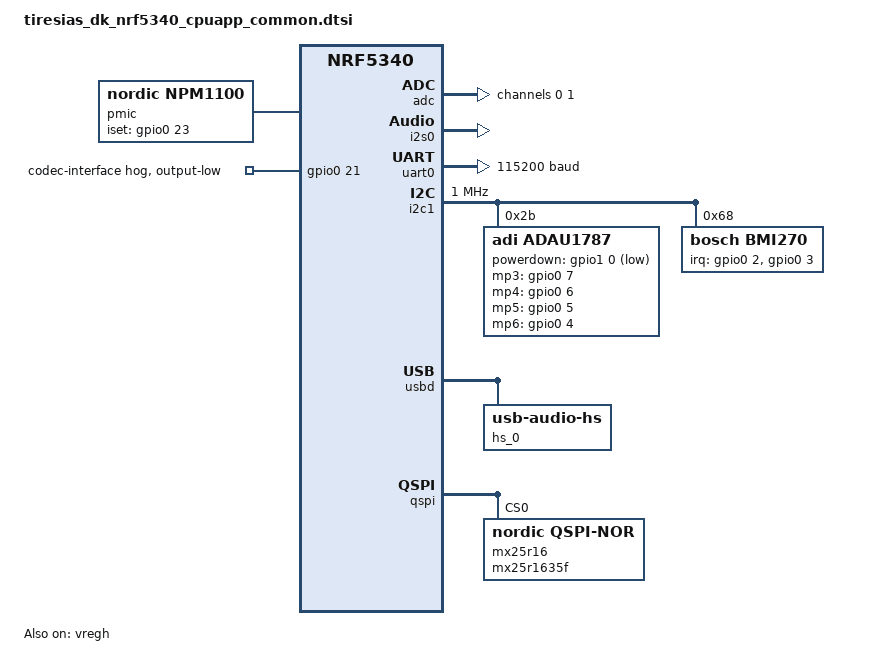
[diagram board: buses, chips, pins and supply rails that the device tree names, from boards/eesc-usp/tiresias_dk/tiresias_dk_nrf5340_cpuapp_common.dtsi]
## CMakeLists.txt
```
#
# Copyright (c) 2022 Nordic Semiconductor ASA
#
# SPDX-License-Identifier: LicenseRef-Nordic-5-Clause
#

cmake_minimum_required(VERSION 3.20.0)

# Flag which defines whether application is compiled as gateway/dongle or headset
add_compile_definitions(HEADSET=1)
add_compile_definitions(GATEWAY=2)

find_package(Zephyr REQUIRED HINTS $ENV{ZEPHYR_BASE})

project(new-tiresias)

string(TIMESTAMP NRF5340_AUDIO_CORE_APP_COMP_DATE "%a %b %d %H:%M:%S %Y")

# Generate fw_info_app.c
configure_file("${CMAKE_CURRENT_SOURCE_DIR}/src/utils/fw_info_app.c.in"
               "${CMAKE_BINARY_DIR}/fw_info_app.c"
               @ONLY)

# Target sources below are specific to the nRF5340 Audio DK HW
target_sources(app PRIVATE
    ${CMAKE_BINARY_DIR}/fw_info_app.c
    )

target_sources(app PRIVATE src/main.c)

# Include application events and configuration headers
zephyr_library_include_directories(
    include
    src/audio
    src/application
    src/bluetooth
    src/drivers
    src/modules
    src/utils
    src/utils/macros
    src/SigmaStudioFiles
)

zephyr_library_include_directories(app PRIVATE
    ${ZEPHYR_NRF_MODULE_DIR}/boards/arm/nrf5340_audio_dk_nrf5340)

# Application sources
add_subdirectory(src/audio)
add_subdirectory(src/application)
add_subdirectory(src/bluetooth)
add_subdirectory(src/drivers)
add_subdirectory(src/modules)
add_subdirectory(src/utils)
add_subdirectory(src/SigmaStudioFiles)
```

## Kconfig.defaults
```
#
# Copyright (c) 2022 Nordic Semiconductor ASA
#
# SPDX-License-Identifier: LicenseRef-Nordic-5-Clause
#

config REBOOT
	default y

config MAIN_THREAD_PRIORITY
	default 10

config MAIN_STACK_SIZE
	default 8192

config SYSTEM_WORKQUEUE_STACK_SIZE
	default 1200

# As long as thread names are used, config must be set to "y"
config THREAD_NAME
	default y

# Workaround to not use fatal_error.c in NCS. Note that the system may still
# reset on error depending on the build configuraion
config RESET_ON_FATAL_ERROR
	default n

# Default Config for Debug and Release build
config BT
	default y

config ZBUS
	default y

config ZBUS_RUNTIME_OBSERVERS
	default y

config ZBUS_MSG_SUBSCRIBER
	default y

config SENSOR
	default y

config REGULATOR
	default y

config CONTIN_ARRAY
	default y

config NRFX_I2S0
	default y

config PCM_MIX
	default y

config PSCM
	default y

config DATA_FIFO
	default y

# Enable NRFX_CLOCK for ACLK control
config NRFX_CLOCK
	default y

config I2C
	default y

choice LIBC_IMPLEMENTATION
	# NOTE: Since we are not using minimal libc, error codes from
	#       minimal libc are not used
	default NEWLIB_LIBC
endchoice

# Audio codec LC3 related defines
# FPU_SHARING enables preservation of the hardware floating point registers
# across context switches to allow multiple threads to perform concurrent
# floating point operations.
config FPU
	default y

config FPU_SHARING
	default y

# Enable SDHC interface
config DISK_DRIVERS
	default y

config DISK_DRIVER_SDMMC
	default y

# Enable SPI interface
config SPI
	default y

# Enable ADC for board version readback
config ADC
	default y

# Allocate buffer on RAM for transferring chunck of data
# from Flash to SPI
config SPI_NRFX_RAM_BUFFER_SIZE
	default 8

# Config the file system
config FILE_SYSTEM
	default y

config FAT_FILESYSTEM_ELM
	default y

config FS_FATFS_LFN
	default y
choice FS_FATFS_LFN_MODE
	# Using stack for LFN work queue
	default FS_FATFS_LFN_MODE_STACK
endchoice

# exFAT enabled to support longer file names and higher transfer speed
config FS_FATFS_EXFAT
	default y

config WATCHDOG
	default y

config TASK_WDT
	default y
```

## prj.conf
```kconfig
#
# Copyright (c) 2024 Nordic Semiconductor ASA
#
# SPDX-License-Identifier: LicenseRef-Nordic-5-Clause
#

# nRF5340 Audio
CONFIG_NRF5340_AUDIO=y
CONFIG_SAMPLE_RATE_CONVERTER=y
CONFIG_SAMPLE_RATE_CONVERTER_FILTER_SIMPLE=y

# General
CONFIG_DEBUG=y
CONFIG_DEBUG_INFO=y
CONFIG_ASSERT=y
CONFIG_STACK_USAGE=y
CONFIG_THREAD_RUNTIME_STATS=y
CONFIG_STACK_SENTINEL=y
CONFIG_INIT_STACKS=y
CONFIG_BT=y

# Uart driver
CONFIG_SERIAL=y

# Logging
CONFIG_LOG=y
CONFIG_NEWLIB_LIBC_FLOAT_PRINTF=y
CONFIG_LOG_TAG_MAX_LEN=2
CONFIG_LOG_TAG_DEFAULT="--"
CONFIG_LOG_BACKEND_UART=n
CONFIG_LOG_BACKEND_RTT=y
CONFIG_LOG_BUFFER_SIZE=4096

# Use this for debugging thread usage
#CONFIG_LOG_THREAD_ID_PREFIX=y

# Console related defines
CONFIG_CONSOLE=y
CONFIG_RTT_CONSOLE=y
CONFIG_UART_CONSOLE=n
CONFIG_SEGGER_RTT_BUFFER_SIZE_UP=8192

# Shell related defines
CONFIG_SHELL=y
CONFIG_KERNEL_SHELL=y
CONFIG_USE_SEGGER_RTT=y
CONFIG_SHELL_BACKEND_RTT=n
CONFIG_SHELL_BACKEND_SERIAL=n
CONFIG_SHELL_VT100_COMMANDS=y
CONFIG_SHELL_VT100_COLORS=y
CONFIG_SHELL_STACK_SIZE=4096
CONFIG_SHELL_CMD_BUFF_SIZE=128
## Reduce shell memory usage
CONFIG_SHELL_WILDCARD=n
CONFIG_SHELL_HELP_ON_WRONG_ARGUMENT_COUNT=n
CONFIG_SHELL_STATS=n
CONFIG_SHELL_CMDS=n
CONFIG_SHELL_HISTORY=y

# Turn off default shell commands
CONFIG_I2C_SHELL=n
CONFIG_HWINFO_SHELL=n
CONFIG_CLOCK_CONTROL_NRF_SHELL=n
CONFIG_FLASH_SHELL=n
CONFIG_DEVICE_SHELL=n

# Suppress LOG_ERR messages from sd_check_card_type. Because SPI_SDHC has no card presence method,
# assume card is in slot. Thus error message is always shown if card is not inserted
CONFIG_SD_LOG_LEVEL_OFF=y

# Suppress LOG_INF messages from hci_core
CONFIG_BT_HCI_CORE_LOG_LEVEL_WRN=y

# DFU
CONFIG_AUDIO_BT_MGMT_DFU=y
CONFIG_MCUMGR_TRANSPORT_BT_PERM_RW=y
CONFIG_BT_L2CAP_TX_MTU=498
CONFIG_BT_BUF_ACL_TX_SIZE=251

# External Flash
CONFIG_FLASH=y
CONFIG_FLASH_MAP=y
CONFIG_SPI_NOR=y
CONFIG_SPI_NOR_SFDP_DEVICETREE=y

# ====================== Broadcast Sink ====================== #

CONFIG_TRANSPORT_BIS=y
CONFIG_AUDIO_DEV=1
CONFIG_BT_DEVICE_NAME="TIRESIAS_BIS_HEADSET"

## ACL related configs ##
CONFIG_BT_OBSERVER=y
CONFIG_BT_PERIPHERAL=y
CONFIG_BT_SMP=y
CONFIG_BT_AUDIO=y
CONFIG_BT_GATT_DYNAMIC_DB=y
CONFIG_BT_GATT_CACHING=n

## Device Information Service
CONFIG_BT_DIS=y
CONFIG_BT_DIS_MANUF="EESC-USP"
CONFIG_BT_DIS_MODEL="Tiresias Hearing Aid"
CONFIG_BT_DIS_FW_REV=y

CONFIG_SETTINGS=y
CONFIG_BT_SETTINGS=y
CONFIG_FLASH=y
CONFIG_FLASH_MAP=y
CONFIG_NVS=y

CONFIG_MBEDTLS_ENABLE_HEAP=y
CONFIG_MBEDTLS_HEAP_SIZE=2048

CONFIG_BT_BUF_ACL_TX_COUNT=18

CONFIG_BT_PERIPHERAL_PREF_MIN_INT=64
CONFIG_BT_PERIPHERAL_PREF_MAX_INT=69
CONFIG_BT_PERIPHERAL_PREF_LATENCY=0
CONFIG_BT_PERIPHERAL_PREF_TIMEOUT=200

# Generic Audio Sink - 0x0840
CONFIG_BT_DEVICE_APPEARANCE=2112
CONFIG_BT_PER_ADV_SYNC_MAX=2

## ISO related configs ##
CONFIG_BT_BAP_BROADCAST_SNK_STREAM_COUNT=2
CONFIG_BT_BAP_BROADCAST_SNK_COUNT=2
CONFIG_BT_ISO_MAX_CHAN=2
CONFIG_BT_ISO_MAX_BIG=2

## PACS related configs ##
CONFIG_BT_PAC_SNK_NOTIFIABLE=y
CONFIG_BT_PAC_SNK=y
CONFIG_BT_PAC_SRC_NOTIFIABLE=y
CONFIG_BT_PAC_SRC=y

## Audio related configs ##
CONFIG_AUDIO_MUTE=n
CONFIG_AUDIO_TEST_TONE=y

CONFIG_BT_ISO_SYNC_RECEIVER=y
CONFIG_BT_BAP_SCAN_DELEGATOR=y
CONFIG_BT_BAP_BROADCAST_SINK=y

## LC3 related configs ##
CONFIG_LC3_DEC_CHAN_MAX=1
```

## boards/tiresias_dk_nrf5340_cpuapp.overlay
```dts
// P0.07/AIN3 -> MP3/FSYNC_1
// P0.06/AIN2 -> MP4/BCLK_1
// P0.04/AIN0 -> MP6/SDATAI_1
// P0.05/AIN1 -> MP5/SDATAO_1

&pinctrl {
	i2s0_default: i2s0_default {
		group1 {
      psels = <NRF_PSEL(I2S_MCK, 1, 01)>;
      nordic,drive-mode = <NRF_DRIVE_H0H1>;
    };
    group2 {
			psels = <NRF_PSEL(I2S_SCK_M, 0, 6)>,
				<NRF_PSEL(I2S_LRCK_M, 0, 7)>,
				<NRF_PSEL(I2S_SDOUT, 0, 4)>,
				<NRF_PSEL(I2S_SDIN, 0, 5)>;
		};
	};

	i2s0_sleep: i2s0_sleep {
		group1 {
			psels = <NRF_PSEL(I2S_MCK, 1, 01)>,
        			<NRF_PSEL(I2S_SCK_M, 0, 6)>,
				<NRF_PSEL(I2S_LRCK_M, 0, 7)>,
				<NRF_PSEL(I2S_SDOUT, 0, 4)>,
				<NRF_PSEL(I2S_SDIN, 0, 5)>;
			low-power-enable;
		};
	};
};
```

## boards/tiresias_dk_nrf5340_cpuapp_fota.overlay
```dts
/ {
	chosen {
		nordic,pm-ext-flash = &mx25r16;
	};
};
```

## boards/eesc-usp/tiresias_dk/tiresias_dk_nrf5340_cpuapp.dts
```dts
/*
 * Copyright (c) 2020 Nordic Semiconductor ASA
 *
 * SPDX-License-Identifier: Apache-2.0
 */

/dts-v1/;
#include <nordic/nrf5340_cpuapp_qkaa.dtsi>
#include "tiresias_dk_nrf5340_cpuapp_common.dtsi"

/ {
  model = "Nordic Tiresias DK NRF5340 Application";
  compatible = "nordic,tiresias-dk-nrf5340-cpuapp";

  chosen {
    zephyr,sram = &sram0_image;
    zephyr,flash = &flash0;
    zephyr,code-partition = &slot0_partition;
    zephyr,sram-secure-partition = &sram0_s;
    zephyr,sram-non-secure-partition = &sram0_ns;
  };
};

&uicr {
  nfct-pins-as-gpios;
};

&mx25r16 {
  partitions {
    compatible = "fixed-partitions";
    #address-cells = <1>;
    #size-cells = <1>;
  };

  sck-frequency = <16000000>;
};

/* Include default memory partition configuration file */
#include <nordic/nrf5340_cpuapp_partition.dtsi>
```

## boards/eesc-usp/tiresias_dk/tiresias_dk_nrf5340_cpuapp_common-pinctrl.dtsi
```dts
/*
 * Copyright (c) 2022 Nordic Semiconductor ASA
 *
 * SPDX-License-Identifier: Apache-2.0
 */

&pinctrl {
	i2s0_default: i2s0_default {
		group1 {
      			psels = <NRF_PSEL(I2S_MCK, 1, 01)>;
      			nordic,drive-mode = <NRF_DRIVE_H0H1>;
    		};
    		group2 {
			psels = <NRF_PSEL(I2S_SCK_M, 1, 14)>,
				<NRF_PSEL(I2S_LRCK_M, 1, 15)>,
				<NRF_PSEL(I2S_SDOUT, 1, 12)>,
				<NRF_PSEL(I2S_SDIN, 1, 13)>;
		};
	};

	i2s0_sleep: i2s0_sleep {
		group1 {
			psels = <NRF_PSEL(I2S_MCK, 1, 01)>,
        			<NRF_PSEL(I2S_SCK_M, 1, 14)>,
				<NRF_PSEL(I2S_LRCK_M, 1, 15)>,
				<NRF_PSEL(I2S_SDOUT, 1, 12)>,
				<NRF_PSEL(I2S_SDIN, 1, 13)>;
			low-power-enable;
		};
	};

	uart0_default: uart0_default {
		group1 {
			psels = <NRF_PSEL(UART_TX, 1, 5)>,
				<NRF_PSEL(UART_RTS, 1, 7)>;
		};
		group2 {
			psels = <NRF_PSEL(UART_RX, 1, 4)>,
				<NRF_PSEL(UART_CTS, 1, 6)>;
			bias-pull-up;
		};
	};

	uart0_sleep: uart0_sleep {
		group1 {
			psels = <NRF_PSEL(UART_TX, 1, 5)>,
				<NRF_PSEL(UART_RX, 1, 4)>,
				<NRF_PSEL(UART_RTS, 1, 7)>,
				<NRF_PSEL(UART_CTS, 1, 6)>;
			low-power-enable;
		};
	};

	i2c1_default: i2c1_default {
		group1 {
			psels = <NRF_PSEL(TWIM_SDA, 1, 2)>,
				<NRF_PSEL(TWIM_SCL, 1, 3)>;
		};
	};

	i2c1_sleep: i2c1_sleep {
		group1 {
			psels = <NRF_PSEL(TWIM_SDA, 1, 2)>,
				<NRF_PSEL(TWIM_SCL, 1, 3)>;
			low-power-enable;
		};
	};

	/* QSPI pin configuration for external flash */
	qspi_default: qspi_default {
		group1 {
			psels = <NRF_PSEL(QSPI_SCK, 0, 17)>,
				<NRF_PSEL(QSPI_CSN, 0, 18)>,
				<NRF_PSEL(QSPI_IO0, 0, 13)>,
				<NRF_PSEL(QSPI_IO1, 0, 14)>,
				<NRF_PSEL(QSPI_IO2, 0, 15)>,
				<NRF_PSEL(QSPI_IO3, 0, 16)>;
		};
	};

	qspi_sleep: qspi_sleep {
		group1 {
			psels = <NRF_PSEL(QSPI_SCK, 0, 17)>,
				<NRF_PSEL(QSPI_CSN, 0, 18)>,
				<NRF_PSEL(QSPI_IO0, 0, 13)>,
				<NRF_PSEL(QSPI_IO1, 0, 14)>,
				<NRF_PSEL(QSPI_IO2, 0, 15)>,
				<NRF_PSEL(QSPI_IO3, 0, 16)>;
			low-power-enable;
		};
	};
};
```

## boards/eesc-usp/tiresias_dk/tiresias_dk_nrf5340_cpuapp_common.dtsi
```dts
/*
 * Copyright (c) 2020-2022 Nordic Semiconductor ASA
 *
 * SPDX-License-Identifier: Apache-2.0
 */
#include "tiresias_dk_nrf5340_cpuapp_common-pinctrl.dtsi"

/ {
  chosen {
    zephyr,console = &uart0;
    zephyr,shell-uart = &uart0;
    zephyr,uart-mcumgr = &uart0;
    zephyr,bt-mon-uart = &uart0;
    zephyr,bt-c2h-uart = &uart0;
    zephyr,bt-hci = &bt_hci_ipc0;
    watchdog0 = &wdt0;
  };

  pmic {
    compatible = "nordic,npm1100";
    nordic,iset-gpios = <&gpio0 23 GPIO_ACTIVE_HIGH>;
  };

};

&vregmain {
  regulator-initial-mode = <NRF5X_REG_MODE_DCDC>;
};

&vregradio {
  regulator-initial-mode = <NRF5X_REG_MODE_DCDC>;
};

&vregh {
  status = "okay";
};

&lfxo {
  load-capacitors = "internal";
  load-capacitance-picofarad = <7>;
};

&adc {
  status = "okay";
  #address-cells = <1>;
  #size-cells = <0>;

  channel@0 {
    reg = <0>;
    zephyr,gain = "ADC_GAIN_1_4";
    zephyr,reference = "ADC_REF_VDD_1_4";
    zephyr,acquisition-time = <ADC_ACQ_TIME(ADC_ACQ_TIME_MICROSECONDS, 40)>;
    zephyr,input-positive = <NRF_SAADC_AIN6>;
    zephyr,resolution = <12>;
    zephyr,oversampling = <8>;
  };

  /* BAT_MON on P0.28 (AIN4) */
  channel@1 {
    reg = <1>;
    zephyr,gain = "ADC_GAIN_1_4";
    zephyr,reference = "ADC_REF_VDD_1_4";
    zephyr,acquisition-time = <ADC_ACQ_TIME(ADC_ACQ_TIME_MICROSECONDS, 40)>;
    zephyr,input-positive = <NRF_SAADC_AIN4>;
    zephyr,resolution = <12>;
    zephyr,oversampling = <8>;
  };
};

&gpiote {
  status = "okay";
};

&gpio0 {
  status = "okay";

  codec-interface {
    gpio-hog;
    gpios = <21 GPIO_ACTIVE_HIGH>;
    /* low output to select on-board codec control */
    output-low;
  };
};

&gpio1 {
  status = "okay";
};

&i2s0 {
  compatible = "nordic,nrf-i2s";
  status = "okay";
  pinctrl-0 = <&i2s0_default>;
  pinctrl-1 = <&i2s0_sleep>;
  pinctrl-names = "default", "sleep";
};

&uart0 {
  status = "okay";
  current-speed = <115200>;
  pinctrl-0 = <&uart0_default>;
  pinctrl-1 = <&uart0_sleep>;
  pinctrl-names = "default", "sleep";
};

&i2c1 {
  status = "okay";
  compatible = "nordic,nrf-twim";
  label = "I2C_1";
  pinctrl-0 = <&i2c1_default>;
  pinctrl-1 = <&i2c1_sleep>;
  pinctrl-names = "default", "sleep";
  clock-frequency = <I2C_BITRATE_FAST_PLUS>;
  zephyr,concat-buf-size = <4092>;
  zephyr,flash-buf-max-size = <4092>;

  adau_1787: adau_1787@2B {
    compatible = "adi,adau1787", "i2c-device";
    status = "okay";
    reg = <0x2B>;
    label = "adau1787";
    powerdown-gpios = <&gpio1 0 GPIO_ACTIVE_LOW>;
    mp3-gpios = <&gpio0 7 GPIO_ACTIVE_HIGH>;
    mp4-gpios = <&gpio0 6 GPIO_ACTIVE_HIGH>;
    mp5-gpios = <&gpio0 5 GPIO_ACTIVE_HIGH>;
    mp6-gpios = <&gpio0 4 GPIO_ACTIVE_HIGH>;
  };

  bmi270: bmi270@68 {
    compatible = "bosch,bmi270";
    status = "okay";
    reg = <0x68>;
    label = "bmi270";
    irq-gpios = <&gpio0 2 GPIO_ACTIVE_HIGH>, <&gpio0 3 GPIO_ACTIVE_HIGH>;
  };
};

zephyr_udc0: &usbd {
  compatible = "nordic,nrf-usbd";
  status = "okay";

  hs_0: hs_0 {
    compatible = "usb-audio-hs";
    mic-feature-mute;
    mic-channel-l;
    mic-channel-r;

    hp-feature-mute;
    hp-channel-l;
    hp-channel-r;
  };
};

&qspi {
  status = "okay";
  pinctrl-0 = <&qspi_default>;
  pinctrl-1 = <&qspi_sleep>;
  pinctrl-names = "default", "sleep";

  mx25r16: mx25r1635f@0 {
    compatible = "nordic,qspi-nor";
    reg = <0>;
    /* Supports only pp and pp4io */
    writeoc = "pp4io";
    /* Supports all readoc options */
    readoc = "read4io";
    sck-frequency = <8000000>;
    /* Manufacturer ID: c2, Memory type: 28, Memory density: 15 */
    jedec-id = [ c2 28 15  ];
    /* JEDEC Flash Parameter Tables */
    sfdp-bfp = [
    ];
    /* 16 Mbit */
    size = <16777216>;
    /* Supports Deep Power-Down */
    has-dpd;
    /* Time to enter DPD: 10000 ns */
    t-enter-dpd = <10000>;
    /* Time to exit DPD: 45000 ns */
    t-exit-dpd = <45000>;
  };
};

#include "tiresias_dk_nrf5340_shared.dtsi"
```

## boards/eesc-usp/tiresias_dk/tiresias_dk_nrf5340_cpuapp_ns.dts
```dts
/*
 * Copyright (c) 2020 Nordic Semiconductor ASA
 *
 * SPDX-License-Identifier: Apache-2.0
 */

/dts-v1/;
#include <nordic/nrf5340_cpuappns_qkaa.dtsi>
#include "tiresias_dk_nrf5340_cpuapp_common.dtsi"

/ {
	model = "Nordic Tiresias DK NRF5340 Application";
	compatible = "nordic,tiresias-dk-nrf5340-cpuapp";

	chosen {
		zephyr,sram = &sram0_ns_app;
		zephyr,flash = &flash0;
		zephyr,code-partition = &slot0_ns_partition;
	};
};
```

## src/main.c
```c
/*
 * Copyright (c) 2023 Nordic Semiconductor ASA
 *
 * SPDX-License-Identifier: LicenseRef-Nordic-5-Clause
 */

#include "controller.h"
#include "fw_info_app.h"
#include "macros_common.h"
#include "tiresias_dk.h"

#include <zephyr/logging/log.h>

LOG_MODULE_REGISTER(main, CONFIG_MAIN_LOG_LEVEL);

int main(void)
{
	int ret;

	LOG_DBG("Main started");

	ret = tiresias_dk_init();
	ERR_CHK(ret);

	ret = fw_info_app_print();
	ERR_CHK(ret);

	ret = controller_init();
	ERR_CHK(ret);

	return 0;
}
```

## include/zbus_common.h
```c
/*
 * Copyright (c) 2023 Nordic Semiconductor ASA
 *
 * SPDX-License-Identifier: LicenseRef-Nordic-5-Clause
 */

#ifndef _ZBUS_COMMON_H_
#define _ZBUS_COMMON_H_

#include <zephyr/bluetooth/audio/audio.h>

#include "le_audio.h"

#define ZBUS_READ_TIMEOUT_MS	K_MSEC(100)
#define ZBUS_ADD_OBS_TIMEOUT_MS K_MSEC(200)

/***** Messages for zbus ******/

/* === Button === */
typedef enum btn_event_t {
	BUTTON_1_PRESSED,
} btn_event_t;
typedef struct btn_chan_msg_t {
	enum btn_event_t event;
} btn_chan_msg_t;

/* === Controller === */
typedef enum controller_event {
	CONTROLLER_EVENT_INIT,
} controller_event;

typedef struct controller_event_chan_msg {
	enum controller_event event;
} controller_event_chan_msg;

typedef enum controller_state {
	CONTROLLER_STATE_OFF,
	CONTROLLER_STATE_INITIALIZING,
	CONTROLLER_STATE_STANDARD,
	CONTROLLER_STATE_BROADCAST_STREAMING,
	CONTROLLER_STATE_ERROR,
} controller_state;

/* === Bluetooth service === */
typedef enum bt_cmd {
	BT_CMD_INIT,
} bt_cmd;

typedef enum bt_state {
	BT_STATE_OFF,
	BT_STATE_INITIALIZING,
	BT_STATE_READY,
	BT_STATE_ERROR,
} bt_state;

typedef struct bt_cmd_chan_msg {
	enum bt_cmd cmd;
} bt_cmd_chan_msg;

typedef struct bt_state_chan_msg {
	enum bt_state state;
} bt_state_chan_msg;

/* === Audio control service === */
typedef enum audio_cmd {
	AUDIO_CMD_INIT,
	AUDIO_CMD_CODEC_SWITCH,
} audio_cmd;

typedef enum audio_state {
	AUDIO_STATE_OFF,
	AUDIO_STATE_INITIALIZING,
	AUDIO_STATE_STANDARD,
	AUDIO_STATE_BROADCAST_STREAMING,
	AUDIO_STATE_ERROR,
} audio_state;

typedef struct audio_cmd_chan_msg {
	enum audio_cmd cmd;
} audio_cmd_chan_msg;

typedef struct audio_state_chan_msg {
	enum audio_state state;
} audio_state_chan_msg;

/* === LED === */
typedef enum board_led_t {
  LED_1,
  LED_2,
  LED_3,
} board_led_t;
typedef enum led_cmd_t {
  TURN_ON,
  TURN_OFF,
  TOGGLE,
  BLINK,
} led_cmd_t;
typedef struct led_chan_msg_t {
  enum board_led_t led;
  enum led_cmd_t cmd;
} led_chan_msg_t;

enum le_audio_evt_type {
	LE_AUDIO_EVT_CONFIG_RECEIVED = 1,
	LE_AUDIO_EVT_PRES_DELAY_SET,
	LE_AUDIO_EVT_STREAMING,
	LE_AUDIO_EVT_NOT_STREAMING,
	LE_AUDIO_EVT_STREAM_SENT,
	LE_AUDIO_EVT_SYNC_LOST,
	LE_AUDIO_EVT_NO_VALID_CFG,
	LE_AUDIO_EVT_COORD_SET_DISCOVERED,
};

struct le_audio_msg {
	enum le_audio_evt_type event;
	struct bt_conn *conn;
	struct bt_le_per_adv_sync *pa_sync;
	enum bt_audio_dir dir;
	uint8_t set_size;
	uint8_t const *sirk;
	struct stream_index idx;
};

/**
 * tx_sync_ts_us	The timestamp from get_tx_sync.
 * curr_ts_us		The current time. This must be in the controller frame of reference.
 */
struct sdu_ref_msg {
	uint32_t tx_sync_ts_us;
	uint32_t curr_ts_us;
	bool adjust;
};

enum bt_mgmt_evt_type {
	BT_MGMT_EXT_ADV_WITH_PA_READY = 1,
	BT_MGMT_CONNECTED,
	BT_MGMT_SECURITY_CHANGED,
	BT_MGMT_PA_SYNCED,
	BT_MGMT_PA_SYNC_LOST,
	BT_MGMT_DISCONNECTED,
	BT_MGMT_BROADCAST_SINK_DISABLE,
	BT_MGMT_BROADCAST_CODE_RECEIVED,
};

struct bt_mgmt_msg {
	enum bt_mgmt_evt_type event;
	struct bt_conn *conn;
	uint8_t index;
	struct bt_le_ext_adv *ext_adv;
	struct bt_le_per_adv_sync *pa_sync;
	uint32_t broadcast_id;
	uint8_t pa_sync_term_reason;
};

enum volume_evt_type {
	VOLUME_UP = 1,
	VOLUME_DOWN,
	VOLUME_SET,
	VOLUME_MUTE,
	VOLUME_UNMUTE,
};

struct volume_msg {
	enum volume_evt_type event;
	uint8_t volume;
};

enum content_control_evt_type {
	MEDIA_START = 1,
	MEDIA_STOP,
};

struct content_control_msg {
	enum content_control_evt_type event;
};

#endif /* _ZBUS_COMMON_H_ */
```
